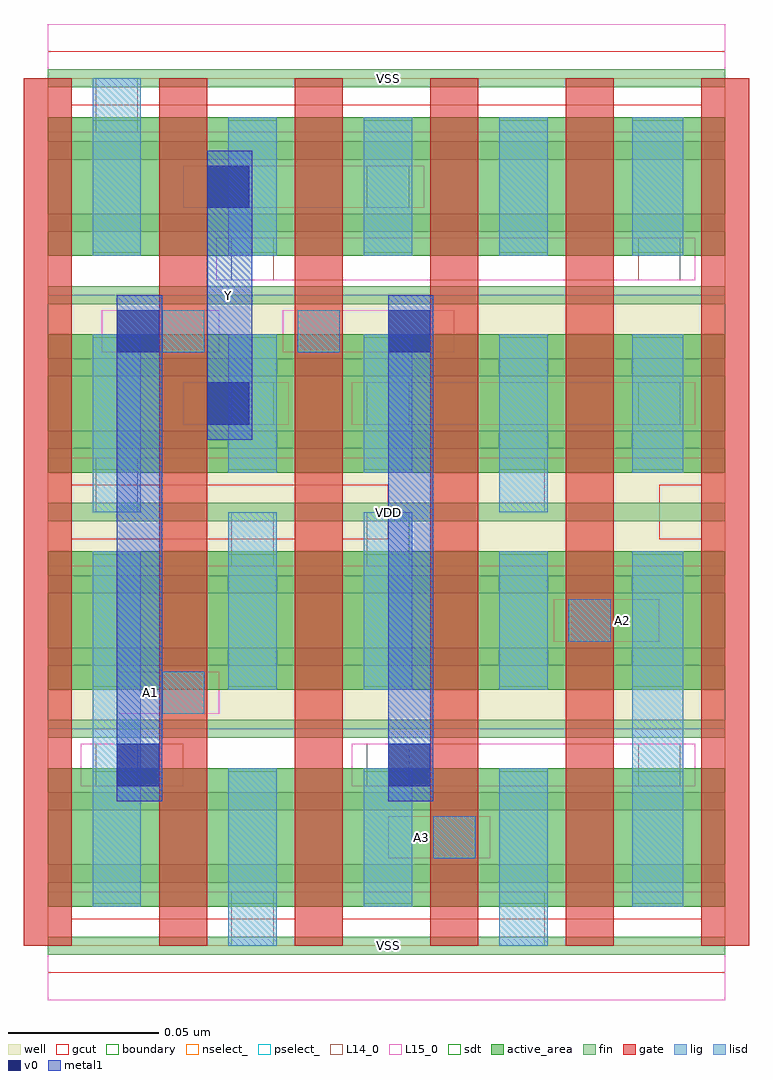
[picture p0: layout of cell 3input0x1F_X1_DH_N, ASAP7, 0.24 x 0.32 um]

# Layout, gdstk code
import gdstk
lib = gdstk.Library(unit=1e-6, precision=1e-09)
def R(c, l, rs):  # rectangles x0, y0, x1, y1
    for r in rs: c.add(gdstk.rectangle(r[:2], r[2:], *l))
def A(c, l, x, y, w, h, nx, ny, dx, dy):  # array of equal rectangles
    R(c, l, [(x+i*dx, y+j*dy, x+i*dx+w, y+j*dy+h) for i in range(nx) for j in range(ny)])
def P(c, l, *ps):  # polygons
    for p in ps: c.add(gdstk.Polygon(p, *l))
well = (1, 0)
fin = (2, 0)
gate = (7, 0)
gcut = (10, 0)
active_area = (11, 0)
nselect_ = (12, 0)
pselect_ = (13, 0)
L14_0 = (14, 0)
L15_0 = (15, 0)
lig = (16, 0)
lisd = (17, 0)
v0 = (18, 0)
metal1 = (19, 0)
sdt = (88, 0)
boundary = (100, 0)

c_3input0x1f_x1_dh_n = lib.new_cell('3input0x1F_X1_DH_N')
R(c_3input0x1f_x1_dh_n, well, [(0,0.072,0.225,0.144), (0,0.144,0.225,0.216)])
A(c_3input0x1f_x1_dh_n, fin, 0, -0.003, 0.225, 0.006, 1, 13, 0, 0.024)
A(c_3input0x1f_x1_dh_n, gate, -0.008, 0, 0.016, 0.288, 6, 1, 0.045, 0)
P(c_3input0x1f_x1_dh_n, gcut, [(0,-0.009),(0,0),(-0.008,0),(-0.008,0.135),(0.008,0.135),(0.008,0.009),(0.082,0.009),(0.082,0.135),(-0.008,0.135),(-0.008,0.279),(0.008,0.279),(0.008,0.153),(0.113,0.153),(0.113,0.135),(0.098,0.135),(0.098,0.009),(0.217,0.009),(0.217,0.135),(0.203,0.135),(0.203,0.153),(0.217,0.153),(0.217,0.279),(-0.008,0.279),(-0.008,0.288),(0,0.288),(0,0.297),(0.225,0.297),(0.225,0.288),(0.233,0.288),(0.233,0),(0.225,0),(0.225,-0.009)])
A(c_3input0x1f_x1_dh_n, active_area, 0, 0.013, 0.225, 0.046, 1, 4, 0, 0.072)
R(c_3input0x1f_x1_dh_n, nselect_, [(0,0,0.225,0.072), (0,0.216,0.225,0.288)])
R(c_3input0x1f_x1_dh_n, pselect_, [(0,0.072,0.225,0.144), (0,0.144,0.225,0.216)])
A(c_3input0x1f_x1_dh_n, L14_0, 0.016, 0.053, 0.014, 0.014, 3, 1, 0.09, 0)
R(c_3input0x1f_x1_dh_n, L14_0, [(0.061,0,0.075,0.018), (0.15,0,0.165,0.018), (0.128,0.029,0.142,0.043), (0.038,0.077,0.052,0.091), (0.173,0.101,0.187,0.115), (0.061,0.126,0.075,0.144), (0.106,0.126,0.12,0.144), (0.016,0.144,0.03,0.162), (0.15,0.144,0.165,0.162), (0.061,0.173,0.075,0.187), (0.106,0.173,0.12,0.187), (0.196,0.173,0.21,0.187), (0.038,0.197,0.052,0.211), (0.083,0.197,0.097,0.211), (0.061,0.221,0.075,0.235), (0.196,0.221,0.21,0.235), (0.106,0.245,0.12,0.259), (0.016,0.27,0.03,0.288)])
A(c_3input0x1f_x1_dh_n, L15_0, 0, -0.018, 0.225, 0.036, 1, 3, 0, 0.144)
R(c_3input0x1f_x1_dh_n, L15_0, [(0.113,0.029,0.147,0.043), (0.011,0.053,0.045,0.067), (0.101,0.053,0.215,0.067), (0.023,0.077,0.057,0.091), (0.168,0.101,0.203,0.115), (0.045,0.173,0.08,0.187), (0.101,0.173,0.215,0.187), (0.018,0.197,0.057,0.211), (0.078,0.197,0.135,0.211), (0.056,0.221,0.215,0.235), (0.045,0.245,0.125,0.259)])
R(c_3input0x1f_x1_dh_n, lig, [(0.128,0.029,0.142,0.043), (0.038,0.077,0.052,0.091), (0.173,0.101,0.187,0.115), (0.038,0.197,0.052,0.211), (0.083,0.197,0.097,0.211)])
A(c_3input0x1f_x1_dh_n, lisd, 0.06, 0.229, 0.016, 0.046, 3, 1, 0.045, 0)
R(c_3input0x1f_x1_dh_n, lisd, [(0.06,0,0.076,0.059), (0.15,0,0.166,0.059), (0.015,0.013,0.031,0.131), (0.105,0.013,0.121,0.059), (0.194,0.013,0.211,0.131), (0.06,0.085,0.076,0.144), (0.105,0.085,0.121,0.144), (0.15,0.085,0.166,0.131), (0.015,0.144,0.031,0.203), (0.15,0.144,0.166,0.203), (0.06,0.157,0.076,0.203), (0.105,0.157,0.121,0.203), (0.194,0.157,0.211,0.203), (0.015,0.229,0.031,0.288), (0.194,0.229,0.211,0.275)])
R(c_3input0x1f_x1_dh_n, v0, [(0.023,0.053,0.037,0.067), (0.113,0.053,0.127,0.067), (0.053,0.173,0.067,0.187), (0.023,0.197,0.037,0.211), (0.113,0.197,0.127,0.211), (0.053,0.245,0.067,0.259)])
R(c_3input0x1f_x1_dh_n, metal1, [(0.023,0.048,0.038,0.216), (0.113,0.048,0.128,0.216), (0.053,0.168,0.068,0.264)])
A(c_3input0x1f_x1_dh_n, sdt, 0.015, 0.014, 0.016, 0.044, 4, 4, 0.045, 0.072)
A(c_3input0x1f_x1_dh_n, sdt, 0.194, 0.014, 0.017, 0.044, 1, 4, 0, 0.072)
R(c_3input0x1f_x1_dh_n, boundary, [(0,0,0.225,0.288)])
c_3input0x1f_x1_dh_n.add(gdstk.Label('A3', (0.124,0.036), layer=15, texttype=251))
c_3input0x1f_x1_dh_n.add(gdstk.Label('VSS', (0.113,0), layer=15, texttype=251))
c_3input0x1f_x1_dh_n.add(gdstk.Label('VDD', (0.113,0.144), layer=15, texttype=251))
c_3input0x1f_x1_dh_n.add(gdstk.Label('VDD', (0.113,0.144), layer=15, texttype=251))
c_3input0x1f_x1_dh_n.add(gdstk.Label('VSS', (0.113,0.288), layer=15, texttype=251))
c_3input0x1f_x1_dh_n.add(gdstk.Label('VSS', (0.113,0), layer=15, texttype=251))
c_3input0x1f_x1_dh_n.add(gdstk.Label('VDD', (0.113,0.144), layer=15, texttype=251))
c_3input0x1f_x1_dh_n.add(gdstk.Label('VDD', (0.113,0.144), layer=15, texttype=251))
c_3input0x1f_x1_dh_n.add(gdstk.Label('VSS', (0.113,0.288), layer=15, texttype=251))
c_3input0x1f_x1_dh_n.add(gdstk.Label('A2', (0.191,0.108), layer=15, texttype=251))
c_3input0x1f_x1_dh_n.add(gdstk.Label('VSS', (0.113,0), layer=15, texttype=251))
c_3input0x1f_x1_dh_n.add(gdstk.Label('VDD', (0.113,0.144), layer=15, texttype=251))
c_3input0x1f_x1_dh_n.add(gdstk.Label('VDD', (0.113,0.144), layer=15, texttype=251))
c_3input0x1f_x1_dh_n.add(gdstk.Label('VSS', (0.113,0.288), layer=15, texttype=251))
c_3input0x1f_x1_dh_n.add(gdstk.Label('A1', (0.034,0.084), layer=15, texttype=251))
c_3input0x1f_x1_dh_n.add(gdstk.Label('VSS', (0.113,0), layer=15, texttype=251))
c_3input0x1f_x1_dh_n.add(gdstk.Label('VDD', (0.113,0.144), layer=15, texttype=251))
c_3input0x1f_x1_dh_n.add(gdstk.Label('VDD', (0.113,0.144), layer=15, texttype=251))
c_3input0x1f_x1_dh_n.add(gdstk.Label('VSS', (0.113,0.288), layer=15, texttype=251))
c_3input0x1f_x1_dh_n.add(gdstk.Label('VSS', (0.113,0), layer=3, texttype=251))
c_3input0x1f_x1_dh_n.add(gdstk.Label('VSS', (0.113,0.288), layer=3, texttype=251))
c_3input0x1f_x1_dh_n.add(gdstk.Label('VSS', (0.113,0), layer=3, texttype=251))
c_3input0x1f_x1_dh_n.add(gdstk.Label('VSS', (0.113,0.288), layer=3, texttype=251))
c_3input0x1f_x1_dh_n.add(gdstk.Label('VSS', (0.113,0), layer=3, texttype=251))
c_3input0x1f_x1_dh_n.add(gdstk.Label('VSS', (0.113,0.288), layer=3, texttype=251))
c_3input0x1f_x1_dh_n.add(gdstk.Label('VSS', (0.113,0), layer=3, texttype=251))
c_3input0x1f_x1_dh_n.add(gdstk.Label('VSS', (0.113,0.288), layer=3, texttype=251))
c_3input0x1f_x1_dh_n.add(gdstk.Label('VDD', (0.113,0.144), layer=1, texttype=251))
c_3input0x1f_x1_dh_n.add(gdstk.Label('VDD', (0.113,0.144), layer=1, texttype=251))
c_3input0x1f_x1_dh_n.add(gdstk.Label('VDD', (0.113,0.144), layer=1, texttype=251))
c_3input0x1f_x1_dh_n.add(gdstk.Label('VDD', (0.113,0.144), layer=1, texttype=251))
c_3input0x1f_x1_dh_n.add(gdstk.Label('VDD', (0.113,0.144), layer=1, texttype=251))
c_3input0x1f_x1_dh_n.add(gdstk.Label('VDD', (0.113,0.144), layer=1, texttype=251))
c_3input0x1f_x1_dh_n.add(gdstk.Label('VDD', (0.113,0.144), layer=1, texttype=251))
c_3input0x1f_x1_dh_n.add(gdstk.Label('VDD', (0.113,0.144), layer=1, texttype=251))
c_3input0x1f_x1_dh_n.add(gdstk.Label('Y', (0.06,0.216), layer=19, texttype=251))

lib.write_gds('3input0x1F_X1_DH_N.gds')
